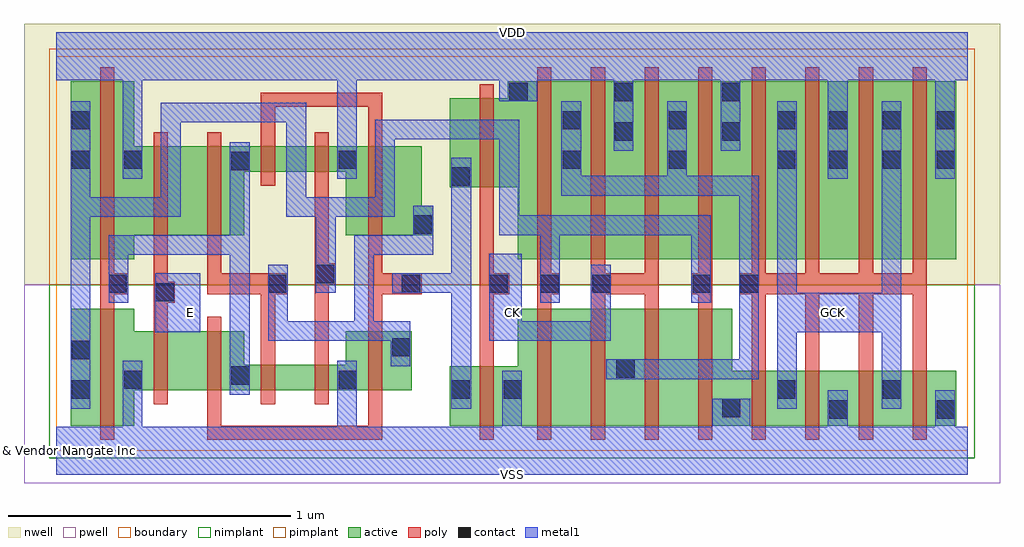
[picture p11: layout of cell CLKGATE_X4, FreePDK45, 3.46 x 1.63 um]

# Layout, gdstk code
import gdstk
lib = gdstk.Library(unit=1e-6, precision=1e-10)
def R(c, l, rs):  # rectangles x0, y0, x1, y1
    for r in rs: c.add(gdstk.rectangle(r[:2], r[2:], *l))
def A(c, l, x, y, w, h, nx, ny, dx, dy):  # array of equal rectangles
    R(c, l, [(x+i*dx, y+j*dy, x+i*dx+w, y+j*dy+h) for i in range(nx) for j in range(ny)])
def P(c, l, *ps):  # polygons
    for p in ps: c.add(gdstk.Polygon(p, *l))
active = (1, 0)
pwell = (2, 0)
nwell = (3, 0)
nimplant = (4, 0)
pimplant = (5, 0)
poly = (9, 0)
contact = (10, 0)
metal1 = (11, 0)
boundary = (235, 0)

clkgate_x4 = lib.new_cell('CLKGATE_X4')
P(clkgate_x4, active, [(0.05,0.09),(0.275,0.09),(0.275,0.215),(1.26,0.215),(1.26,0.425),(1.025,0.425),(1.025,0.305),(0.665,0.305),(0.665,0.425),(0.275,0.425),(0.275,0.505),(0.05,0.505)],
  [(0.05,0.68),(0.275,0.68),(0.275,0.765),(0.665,0.765),(0.665,0.99),(1.025,0.99),(1.025,0.765),(1.335,0.765),(1.335,0.87),(1.295,0.87),(1.295,1.08),(0.275,1.08),(0.275,1.31),(0.05,1.31)],
  [(1.395,0.09),(3.19,0.09),(3.19,0.285),(2.395,0.285),(2.395,0.505),(1.635,0.505),(1.635,0.3),(1.395,0.3)],
  [(1.395,0.935),(1.635,0.935),(1.635,0.68),(3.19,0.68),(3.19,1.31),(1.6,1.31),(1.6,1.25),(1.395,1.25)])
R(clkgate_x4, pwell, [(-0.115,-0.115,3.345,0.59)])
R(clkgate_x4, nwell, [(-0.115,0.59,3.345,1.515)])
R(clkgate_x4, nimplant, [(-0.025,-0.025,3.255,0.59)])
R(clkgate_x4, pimplant, [(-0.025,0.59,3.255,1.425)])
P(clkgate_x4, poly, [(0.155,0.04),(0.205,0.04),(0.205,0.555),(0.255,0.555),(0.255,0.63),(0.205,0.63),(0.205,1.36),(0.155,1.36)],
  [(0.345,0.165),(0.395,0.165),(0.395,0.525),(0.42,0.525),(0.42,0.6),(0.395,0.6),(0.395,1.13),(0.345,1.13)],
  [(0.535,0.555),(0.725,0.555),(0.725,0.165),(0.775,0.165),(0.775,0.555),(0.82,0.555),(0.82,0.63),(0.585,0.63),(0.585,1.13),(0.535,1.13)],
  [(0.915,0.165),(0.965,0.165),(0.965,0.59),(0.99,0.59),(0.99,0.665),(0.965,0.665),(0.965,1.13),(0.915,1.13)],
  [(0.725,0.94),(0.775,0.94),(0.775,1.22),(1.105,1.22),(1.105,0.09),(0.585,0.09),(0.585,0.475),(0.535,0.475),(0.535,0.04),(1.155,0.04),(1.155,0.555),(1.295,0.555),(1.295,0.63),(1.155,0.63),(1.155,1.27),(0.725,1.27)],
  [(1.5,0.04),(1.55,0.04),(1.55,0.555),(1.605,0.555),(1.605,0.63),(1.55,0.63),(1.55,1.3),(1.5,1.3)],
  [(1.705,0.04),(1.755,0.04),(1.755,0.555),(1.785,0.555),(1.785,0.63),(1.755,0.63),(1.755,1.36),(1.705,1.36)],
  [(1.895,0.04),(1.945,0.04),(1.945,0.555),(2.085,0.555),(2.085,0.04),(2.135,0.04),(2.135,1.36),(2.085,1.36),(2.085,0.63),(1.945,0.63),(1.945,1.36),(1.895,1.36)],
  [(2.25,0.555),(2.275,0.555),(2.275,0.04),(2.325,0.04),(2.325,1.36),(2.275,1.36),(2.275,0.63),(2.25,0.63)],
  [(2.42,0.555),(2.465,0.555),(2.465,0.04),(2.515,0.04),(2.515,0.555),(2.655,0.555),(2.655,0.04),(2.705,0.04),(2.705,0.555),(2.845,0.555),(2.845,0.04),(2.895,0.04),(2.895,0.555),(3.035,0.555),(3.035,0.04),(3.085,0.04),(3.085,1.36),(3.035,1.36),(3.035,0.63),(2.895,0.63),(2.895,1.36),(2.845,1.36),(2.845,0.63),(2.705,0.63),(2.705,1.36),(2.655,1.36),(2.655,0.63),(2.515,0.63),(2.515,1.36),(2.465,1.36),(2.465,0.63),(2.42,0.63)])
A(clkgate_x4, contact, 2.74, 1, 0.065, 0.065, 3, 2, 0.19, 0.14)
R(clkgate_x4, contact, [(2.74,0.115,2.805,0.18), (3.12,0.115,3.185,0.18), (2.36,0.12,2.425,0.185), (0.055,0.185,0.12,0.25), (1.4,0.185,1.465,0.25), (1.585,0.185,1.65,0.25), (2.555,0.185,2.62,0.25), (2.93,0.185,2.995,0.25), (0.24,0.22,0.305,0.285), (1,0.22,1.065,0.285), (0.62,0.235,0.685,0.3), (1.985,0.26,2.05,0.325), (0.055,0.325,0.12,0.39), (1.19,0.335,1.255,0.4), (0.35,0.53,0.415,0.595), (0.185,0.56,0.25,0.625), (0.75,0.56,0.815,0.625), (1.225,0.56,1.29,0.625), (1.535,0.56,1.6,0.625), (1.715,0.56,1.78,0.625), (1.9,0.56,1.965,0.625), (2.255,0.56,2.32,0.625), (2.425,0.56,2.49,0.625), (0.92,0.595,0.985,0.66), (1.265,0.77,1.33,0.835), (1.4,0.94,1.465,1.005), (0.62,0.995,0.685,1.06), (0.055,1,0.12,1.065), (0.24,1,0.305,1.065), (1,1,1.065,1.065), (1.795,1,1.86,1.065), (2.17,1,2.235,1.065), (2.555,1,2.62,1.065), (1.98,1.1,2.045,1.165), (2.36,1.1,2.425,1.165), (0.055,1.14,0.12,1.205), (1.795,1.14,1.86,1.205), (2.17,1.14,2.235,1.205), (2.555,1.14,2.62,1.205), (1.605,1.24,1.67,1.305), (1.98,1.24,2.045,1.305), (2.36,1.24,2.425,1.305)])
R(clkgate_x4, metal1, [(0.35,0.42,0.51,0.63)])
P(clkgate_x4, metal1, [(0.185,0.525),(0.255,0.525),(0.255,0.695),(0.615,0.695),(0.615,0.2),(0.685,0.2),(0.685,1.095),(0.615,1.095),(0.615,0.765),(0.185,0.765)],
  [(1.125,0.695),(1.335,0.695),(1.335,0.87),(1.265,0.87),(1.265,0.765),(1.055,0.765),(1.055,0.46),(0.82,0.46),(0.82,0.66),(0.75,0.66),(0.75,0.39),(1.185,0.39),(1.185,0.3),(1.255,0.3),(1.255,0.46),(1.125,0.46)],
  [(1.19,0.56),(1.4,0.56),(1.4,0.15),(1.47,0.15),(1.47,1.04),(1.4,1.04),(1.4,0.63),(1.19,0.63)],
  [(1.535,0.39),(1.965,0.39),(1.965,0.66),(1.895,0.66),(1.895,0.46),(1.65,0.46),(1.65,0.7),(1.535,0.7)],
  [(0.05,0.15),(0.12,0.15),(0.12,0.83),(0.44,0.83),(0.44,1.165),(0.815,1.165),(0.815,0.83),(0.92,0.83),(0.92,0.56),(0.99,0.56),(0.99,0.83),(1.2,0.83),(1.2,1.105),(1.57,1.105),(1.57,0.765),(1.715,0.765),(1.715,0.525),(1.785,0.525),(1.785,0.765),(2.25,0.765),(2.25,0.525),(2.32,0.525),(2.32,0.835),(1.64,0.835),(1.64,1.175),(1.13,1.175),(1.13,0.9),(0.885,0.9),(0.885,1.235),(0.37,1.235),(0.37,0.9),(0.12,0.9),(0.12,1.24),(0.05,1.24)],
  [(1.79,0.905),(2.42,0.905),(2.42,0.325),(1.95,0.325),(1.95,0.255),(2.49,0.255),(2.49,0.975),(2.235,0.975),(2.235,1.24),(2.165,1.24),(2.165,0.975),(1.86,0.975),(1.86,1.24),(1.79,1.24)],
  [(2.555,0.15),(2.625,0.15),(2.625,0.42),(2.925,0.42),(2.925,0.15),(2.995,0.15),(2.995,1.24),(2.925,1.24),(2.925,0.56),(2.625,0.56),(2.625,1.24),(2.555,1.24)],
  [(0,-0.085),(3.23,-0.085),(3.23,0.085),(3.185,0.085),(3.185,0.215),(3.115,0.215),(3.115,0.085),(2.805,0.085),(2.805,0.215),(2.735,0.215),(2.735,0.085),(2.46,0.085),(2.46,0.185),(2.325,0.185),(2.325,0.085),(1.65,0.085),(1.65,0.285),(1.58,0.285),(1.58,0.085),(1.065,0.085),(1.065,0.32),(0.995,0.32),(0.995,0.085),(0.305,0.085),(0.305,0.32),(0.235,0.32),(0.235,0.085),(0,0.085)],
  [(0,1.315),(0.235,1.315),(0.235,0.965),(0.305,0.965),(0.305,1.315),(0.995,1.315),(0.995,0.965),(1.065,0.965),(1.065,1.315),(1.57,1.315),(1.57,1.24),(1.705,1.24),(1.705,1.315),(1.975,1.315),(1.975,1.065),(2.045,1.065),(2.045,1.315),(2.355,1.315),(2.355,1.065),(2.425,1.065),(2.425,1.315),(2.735,1.315),(2.735,0.965),(2.805,0.965),(2.805,1.315),(3.115,1.315),(3.115,0.965),(3.185,0.965),(3.185,1.315),(3.23,1.315),(3.23,1.485),(0,1.485)])
R(clkgate_x4, boundary, [(0,0,3.23,1.4)])
clkgate_x4.add(gdstk.Label('CK', (1.615,0.49), layer=11, texttype=0))
clkgate_x4.add(gdstk.Label('E', (0.475,0.49), layer=11, texttype=0))
clkgate_x4.add(gdstk.Label('GCK', (2.755,0.49), layer=11, texttype=0))
clkgate_x4.add(gdstk.Label('VDD', (1.615,1.485), layer=11, texttype=0))
clkgate_x4.add(gdstk.Label('VSS', (1.615,-0.085), layer=11, texttype=0))
clkgate_x4.add(gdstk.Label('& Vendor Nangate Inc', (0,0), layer=63, texttype=63))
clkgate_x4.add(gdstk.Label('& Product Open Cell Library', (0,0), layer=63, texttype=63))
clkgate_x4.add(gdstk.Label('& Version 2010_12', (0,0), layer=63, texttype=63))
clkgate_x4.add(gdstk.Label('& Instance CLKGATE_X4', (0,0), layer=63, texttype=63))

lib.write_gds('CLKGATE_X4.gds')
